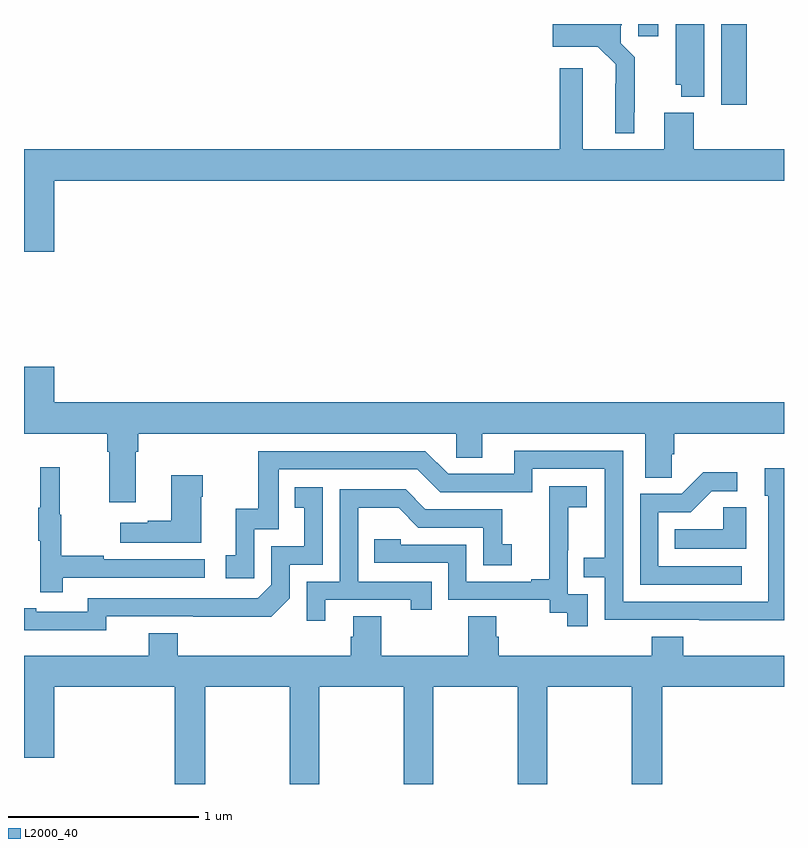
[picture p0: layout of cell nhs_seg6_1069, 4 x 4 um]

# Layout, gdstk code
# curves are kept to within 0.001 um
import gdstk
lib = gdstk.Library(unit=1e-6, precision=1e-09)
def R(c, l, rs):  # rectangles x0, y0, x1, y1
    for r in rs: c.add(gdstk.rectangle(r[:2], r[2:], *l))
def P(c, l, *ps):  # polygons
    for p in ps: c.add(gdstk.Polygon(p, *l))
L2000_40 = (2000, 40)

nhs_seg6_1069 = lib.new_cell('nhs_seg6_1069')
R(nhs_seg6_1069, L2000_40, [(180.671,941.076,180.803,941.5), (180.233,941.436,180.337,941.5)])
P(nhs_seg6_1069, L2000_40, [(180.211,941.035),(180.215,941.035),(180.215,941.326),(180.141,941.4),(180.141,941.494),(180.145,941.494),(180.145,941.5),(179.784,941.5),(179.784,941.381),(180.021,941.381),(180.114,941.288),(180.113,940.925),(180.211,940.925)],
  [(180.58,941.5),(180.431,941.5),(180.431,941.181),(180.458,941.181),(180.458,941.117),(180.58,941.117)],
  [(177.16,940.676),(181,940.676),(181,940.84),(180.524,940.84),(180.524,941.032),(180.371,941.032),(180.371,940.84),(179.941,940.84),(179.941,941.266),(179.819,941.266),(179.819,940.84),(177,940.84),(177,940.302),(177.16,940.302)],
  [(177.589,939.248),(177.602,939.248),(177.602,939.344),(179.274,939.344),(179.274,939.217),(179.413,939.217),(179.413,939.344),(180.269,939.344),(180.269,939.112),(180.408,939.112),(180.408,939.235),(180.422,939.235),(180.422,939.344),(181,939.344),(181,939.508),(177.16,939.508),(177.16,939.697),(177,939.697),(177,939.344),(177.437,939.344),(177.437,939.248),(177.449,939.248),(177.449,938.982),(177.589,938.982)],
  [(181,939.163),(180.899,939.163),(180.899,939.018),(180.918,939.018),(180.918,938.46),(180.153,938.46),(180.153,939.255),(179.579,939.255),(179.579,939.132),(179.232,939.132),(179.112,939.252),(178.233,939.252),(178.233,938.95),(178.115,938.95),(178.115,938.703),(178.062,938.703),(178.062,938.583),(178.212,938.583),(178.212,938.841),(178.341,938.841),(178.341,939.156),(179.07,939.156),(179.19,939.036),(179.676,939.036),(179.676,939.159),(180.057,939.159),(180.057,938.69),(179.947,938.69),(179.947,938.589),(180.057,938.589),(180.057,938.364),(181,938.363)],
  [(177.203,938.586),(177.952,938.586),(177.952,938.682),(177.419,938.682),(177.419,938.702),(177.196,938.702),(177.196,938.916),(177.188,938.916),(177.188,939.166),(177.086,939.166),(177.086,938.953),(177.075,938.953),(177.075,938.779),(177.086,938.779),(177.086,938.508),(177.203,938.508)],
  [(180.778,938.646),(180.339,938.646),(180.339,938.931),(180.508,938.931),(180.619,939.042),(180.754,939.042),(180.754,939.14),(180.575,939.14),(180.462,939.027),(180.243,939.027),(180.243,938.55),(180.778,938.55)],
  [(177.934,939.011),(177.942,939.011),(177.942,939.124),(177.776,939.124),(177.776,938.885),(177.65,938.885),(177.65,938.875),(177.507,938.875),(177.507,938.771),(177.934,938.771)],
  [(179.967,938.499),(179.862,938.499),(179.862,938.729),(179.864,938.729),(179.864,938.957),(179.962,938.957),(179.962,939.067),(179.764,939.067),(179.764,938.861),(179.765,938.861),(179.765,938.578),(179.669,938.578),(179.669,938.565),(179.328,938.565),(179.328,938.76),(178.983,938.76),(178.983,938.787),(178.843,938.787),(178.843,938.664),(179.232,938.664),(179.232,938.469),(179.766,938.469),(179.766,938.401),(179.859,938.401),(179.859,938.331),(179.967,938.331)],
  [(177.432,938.382),(178.3,938.381),(178.398,938.478),(178.398,938.655),(178.572,938.655),(178.572,939.061),(178.426,939.061),(178.426,938.955),(178.475,938.955),(178.475,938.751),(178.302,938.751),(178.302,938.55),(178.23,938.478),(177.336,938.478),(177.336,938.406),(177.064,938.406),(177.064,938.426),(177,938.426),(177,938.31),(177.432,938.309)],
  [(178.585,938.469),(179.036,938.469),(179.036,938.418),(179.147,938.418),(179.147,938.565),(178.758,938.565),(178.758,938.954),(178.972,938.954),(179.076,938.85),(179.418,938.85),(179.418,938.652),(179.566,938.652),(179.566,938.761),(179.517,938.761),(179.517,938.946),(179.113,938.946),(179.008,939.051),(178.662,939.051),(178.662,938.565),(178.488,938.565),(178.488,938.358),(178.585,938.358)],
  [(180.802,938.957),(180.681,938.957),(180.681,938.842),(180.424,938.842),(180.424,938.738),(180.802,938.738)],
  [(177.954,938.012),(178.399,938.012),(178.399,937.5),(178.554,937.5),(178.554,938.012),(178.999,938.012),(178.999,937.5),(179.154,937.5),(179.154,938.012),(179.599,938.012),(179.599,937.5),(179.754,937.5),(179.754,938.012),(180.199,938.012),(180.199,937.5),(180.359,937.5),(180.359,938.012),(181,938.012),(181,938.176),(180.47,938.176),(180.47,938.275),(180.305,938.275),(180.305,938.176),(179.498,938.176),(179.498,938.274),(179.485,938.274),(179.485,938.384),(179.338,938.384),(179.338,938.176),(178.881,938.176),(178.881,938.384),(178.733,938.384),(178.733,938.274),(178.721,938.274),(178.721,938.176),(177.809,938.176),(177.809,938.293),(177.656,938.293),(177.656,938.176),(177,938.176),(177,937.638),(177.16,937.638),(177.16,938.012),(177.794,938.012),(177.794,937.5),(177.954,937.5)])

lib.write_gds('nhs_seg6_1069.gds')
